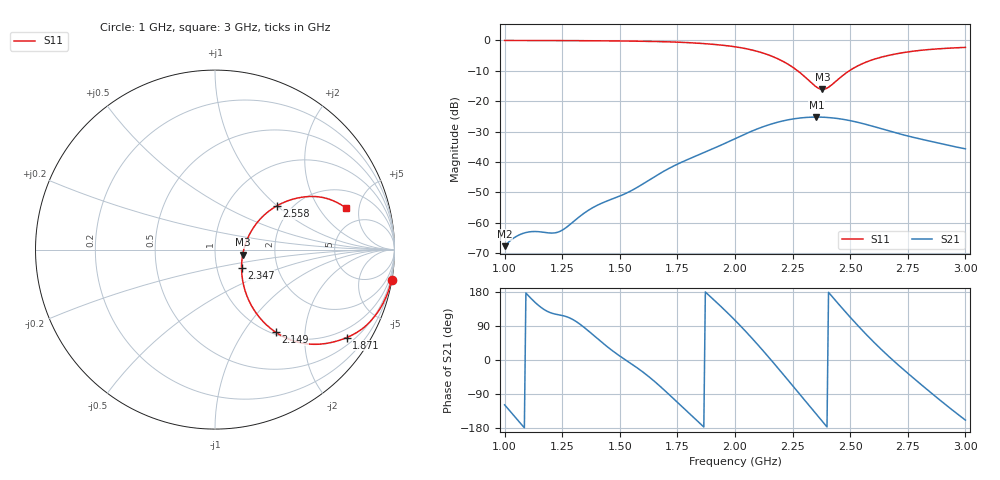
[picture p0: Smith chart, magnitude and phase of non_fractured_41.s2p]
! TOUCHSTONE file generated by CST MICROWAVE STUDIO
! Date and time: Sat Mar  8 13:54:12 2025
! Project name: non_fractured.cst
! Parameters = {B=2.5; D=160; F=15; Feed=2.85625; L=100; M=5; R=0.384908; S=2; Theta=0; length=57.125; wave=114.25}
! Header version: 2024
! Port assignment regex: !\s*Touchstone port\s*([0-9]+)\s*=\s*(CST MWS port|CST DES external port|CST DES block port)\s*(.+)\s* \(\"(.*)\"\)(\s*mode\s*([0-9]+))?.*
! Touchstone port assignment:
! Touchstone port 1 = CST MWS port 1 ("")
! Touchstone port 2 = CST MWS port 2 ("")
# GHz S DB R 50
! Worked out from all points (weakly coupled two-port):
!   304 points, 1 GHz to 3 GHz, reference 50 ohm
!   highest |S21| = -25.21 dB at 2.353 GHz (marker M1); lowest = -67.7 dB at 1 GHz (marker M2)
!   lowest |S11| = -16.1 dB at 2.38 GHz (marker M3), VSWR 1.37, Z = 68.1 - j4.06 ohm
!   |S11| at or under -10 dB: 2.272 GHz to 2.496 GHz (223.9 MHz wide, 9.39 % of centre)
!   S12 and S22 are empty: the file has one direction only
!   S11 on the Smith chart (normalised r, x): 1 GHz: 0, -12; 1.871 GHz: 0.71, -3.15; 2.149 GHz: 1.04, -1.42; 2.347 GHz: 1.31, -0.27; 2.558 GHz: 1.68, +1.00; 3 GHz: 3.28, +3.70
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1  -0.02 -9.8  -67.66 -118.4  -200.00 0.0  -200.00 0.0
1.0462  -0.02 -10.4  -64.65 -151.1  -200.00 0.0  -200.00 0.0
1.09241  -0.03 -11.0  -63.17 176.7  -200.00 0.0  -200.00 0.0
1.23762  -0.05 -13.3  -62.87 119.0  -200.00 0.0  -200.00 0.0
1.33663  -0.09 -15.2  -57.27 90.1  -200.00 0.0  -200.00 0.0
1.40264  -0.12 -16.6  -54.19 56.6  -200.00 0.0  -200.00 0.0
1.54785  -0.23 -20.3  -49.49 -9.2  -200.00 0.0  -200.00 0.0
1.66667  -0.38 -24.2  -44.08 -64.9  -200.00 0.0  -200.00 0.0
1.87129  -1.09 -33.7  -36.72 179.5  -200.00 0.0  -200.00 0.0
2.0033  -2.13 -42.4  -32.18 102.8  -200.00 0.0  -200.00 0.0
2.14851  -4.86 -53.7  -27.71 5.8  -200.00 0.0  -200.00 0.0
2.24752  -8.66 -56.9  -25.88 -65.8  -200.00 0.0  -200.00 0.0
2.33993  -14.52 -37.9  -25.22 -133.6  -200.00 0.0  -200.00 0.0
2.34653  -14.94 -34.3  -25.21 -138.5  -200.00 0.0  -200.00 0.0
2.35314  -15.31 -30.3  -25.21 -143.3  -200.00 0.0  -200.00 0.0
2.37954  -16.09 -10.7  -25.25 -162.5  -200.00 0.0  -200.00 0.0
2.40594  -15.40 8.8  -25.37 178.5  -200.00 0.0  -200.00 0.0
2.47195  -11.30 32.2  -25.99 132.1  -200.00 0.0  -200.00 0.0
2.55776  -7.49 35.3  -27.40 75.0  -200.00 0.0  -200.00 0.0
2.66997  -4.87 30.8  -29.80 8.0  -200.00 0.0  -200.00 0.0
2.82838  -3.09 23.4  -32.83 -75.2  -200.00 0.0  -200.00 0.0
3  -2.29 17.5  -35.65 -158.6  -200.00 0.0  -200.00 0.0
